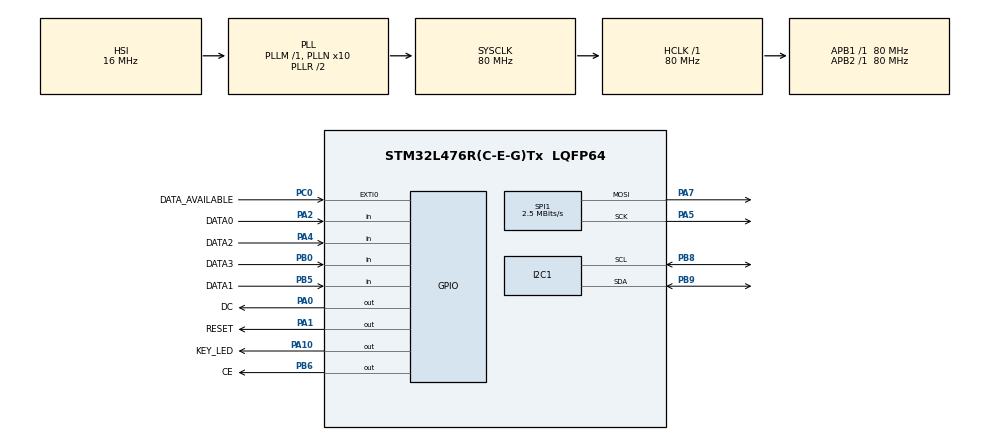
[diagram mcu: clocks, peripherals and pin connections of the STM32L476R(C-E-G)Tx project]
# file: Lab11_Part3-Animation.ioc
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I2C1.Timing=0x10D19CE4
Mcu.Family=STM32L4
Mcu.Name=STM32L476R(C-E-G)Tx
Mcu.Package=LQFP64
NVIC.EXTI0_IRQn=true\:15\:0\:true\:false\:true\:true\:true\:true
NVIC.PriorityGroup=NVIC_PRIORITYGROUP_4
PA0.GPIO_Label=DC
PA0.Signal=GPIO_Output
PA1.GPIO_Label=RESET
PA1.Signal=GPIO_Output
PA10.GPIO_Label=KEY_LED
PA10.Signal=GPIO_Output
PA13\ (JTMS-SWDIO).GPIO_Label=TMS
PA13\ (JTMS-SWDIO).Mode=Serial_Wire
PA13\ (JTMS-SWDIO).Signal=SYS_JTMS-SWDIO
PA14\ (JTCK-SWCLK).GPIO_Label=TCK
PA14\ (JTCK-SWCLK).Mode=Serial_Wire
PA14\ (JTCK-SWCLK).Signal=SYS_JTCK-SWCLK
PA2.GPIO_Label=DATA0
PA2.Signal=GPIO_Input
PA4.GPIO_Label=DATA2
PA4.Signal=GPIO_Input
PA5.Mode=TX_Only_Simplex_Unidirect_Master
PA5.Signal=SPI1_SCK
PA7.Mode=TX_Only_Simplex_Unidirect_Master
PA7.Signal=SPI1_MOSI
PB0.GPIO_Label=DATA3
PB0.Signal=GPIO_Input
PB3\ (JTDO-TRACESWO).GPIO_Label=SWO
PB3\ (JTDO-TRACESWO).Signal=SYS_JTDO-SWO
PB5.GPIO_Label=DATA1
PB5.Signal=GPIO_Input
PB6.GPIO_Label=CE
PB6.Signal=GPIO_Output
PB8.Mode=I2C
PB8.Signal=I2C1_SCL
PB9.Mode=I2C
PB9.Signal=I2C1_SDA
PC0.GPIO_Label=DATA_AVAILABLE
PC0.GPIO_ModeDefaultEXTI=GPIO_MODE_IT_RISING
PC0.GPIO_PuPd=GPIO_PULLDOWN
PC0.Signal=GPXTI0
PC14-OSC32_IN\ (PC14).Mode=LSE-External-Oscillator
PC14-OSC32_IN\ (PC14).Signal=RCC_OSC32_IN
PC15-OSC32_OUT\ (PC15).Mode=LSE-External-Oscillator
PC15-OSC32_OUT\ (PC15).Signal=RCC_OSC32_OUT
PH0-OSC_IN\ (PH0).Signal=RCC_OSC_IN
PH1-OSC_OUT\ (PH1).Signal=RCC_OSC_OUT
ProjectManager.HeapSize=0x200
ProjectManager.StackSize=0x400
ProjectManager.TargetToolchain=STM32CubeIDE
RCC.ADCFreq_Value=64000000
RCC.AHBFreq_Value=80000000
RCC.APB1Freq_Value=80000000
RCC.APB1TimFreq_Value=80000000
RCC.APB2Freq_Value=80000000
RCC.APB2TimFreq_Value=80000000
RCC.CortexFreq_Value=80000000
RCC.HCLKFreq_Value=80000000
RCC.HSE_VALUE=8000000
RCC.HSI_VALUE=16000000
RCC.MSI_VALUE=4000000
RCC.PLLN=10
RCC.PLLSourceVirtual=RCC_PLLSOURCE_HSI
RCC.PREFETCH_ENABLE=1
RCC.SYSCLKFreq_VALUE=80000000
RCC.SYSCLKSource=RCC_SYSCLKSOURCE_PLLCLK
RCC.USBFreq_Value=64000000
RCC.VCOOutputFreq_Value=160000000
SPI1.BaudRatePrescaler=SPI_BAUDRATEPRESCALER_32
SPI1.CalculateBaudRate=2.5 MBits/s
SPI1.DataSize=SPI_DATASIZE_8BIT
SPI1.Direction=SPI_DIRECTION_2LINES
SPI1.Mode=SPI_MODE_MASTER
SPI1.VirtualType=VM_MASTER
board=NUCLEO-L476RG

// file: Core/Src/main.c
/* USER CODE BEGIN Header */
/**
  ******************************************************************************
  * @file           : main.c
  * @brief          : Main program body
  ******************************************************************************
  * @attention
  *
  * Copyright (c) 2025 STMicroelectronics.
  * All rights reserved.
  *
  * This software is licensed under terms that can be found in the LICENSE file
  * in the root directory of this software component.
  * If no LICENSE file comes with this software, it is provided AS-IS.
  *
  ******************************************************************************
  */
/* USER CODE END Header */
#include "main.h"

/* USER CODE BEGIN PM */
// GLCD
#define CE_PORT 	GPIOB // PB6 chip enable (aka slave select)
#define CE_PIN 		GPIO_PIN_6

#define DC_PORT 	GPIOA // PA0 data/control
#define DC_PIN 		GPIO_PIN_0

#define RESET_PORT 	GPIOA // PA1 reset
#define RESET_PIN 	GPIO_PIN_1

#define GLCD_WIDTH 	84
#define GLCD_HEIGHT 48
#define NUM_BANKS	 6

// LCD
#define I2C_ADDR 0x27 // I2C address of the PCF8574
#define RS_BIT 0 // Register select bit
#define EN_BIT 2 // Enable bit
#define BL_BIT 3 // Backlight bit
#define D4_BIT 4 // Data 4 bit
#define D5_BIT 5 // Data 5 bit
#define D6_BIT 6 // Data 6 bit
#define D7_BIT 7 // Data 7 bit
#define LCD_ROWS 2 // Number of rows on the LCD
#define LCD_COLS 16 // Number of columns on the LCD

/* USER CODE END PM */

I2C_HandleTypeDef hi2c1;

SPI_HandleTypeDef hspi1;

/* USER CODE BEGIN PV */
// GLCD
const char font_table[][8] = {
	{0x00, 0x80, 0x40, 0x20, 0x20, 0x20, 0x40, 0x80}, // person top				0
	{0x00, 0x0F, 0x10, 0x2D, 0xE8, 0x2D, 0x90, 0x4F}, // person middle			1
	{0x00, 0x04, 0x82, 0x41, 0x3F, 0x41, 0x80, 0x00}, // person bottom			2
	{0x20, 0x10, 0x08, 0x06, 0x09, 0x09, 0x06, 0x00}, // person arm with ball 	3
	{0x20, 0x10, 0x08, 0x00, 0x00, 0x00, 0x00, 0x00}, // person arm no ball		4
	{0x00, 0x18, 0x24, 0x24, 0x18, 0x00, 0x00, 0x00}, // ball phase 1			5
	{0x30, 0x48, 0x48, 0x30, 0x00, 0x00, 0x00, 0x00}, // ball phase 2			6
	{0x00, 0x00, 0x00, 0x00, 0x60, 0x90, 0x90, 0x60}, // ball phase 3,4,7,10-12	7
	{0x00, 0x00, 0x00, 0x00, 0x06, 0x09, 0x09, 0x06}, // ball phase 5			8
	{0x00, 0x00, 0x00, 0x00, 0x0C, 0x12, 0x12, 0x0C}, // ball phase 6			9
	{0x00, 0x00, 0x00, 0xE6, 0x19, 0x19, 0x16, 0x10}, // ball top hoop			10
	{0x00, 0x00, 0x00, 0x01, 0x32, 0x4A, 0x4A, 0x32}, // ball bottom hoop		11
	{0x00, 0xE0, 0xE0, 0x00, 0x00, 0xFF, 0x00, 0x00}, // hoop top				12
	{0x00, 0x00, 0x00, 0xE0, 0x10, 0x10, 0x10, 0x10}, // hoop mid left			13
	{0xE0, 0xFF, 0xFF, 0x10, 0x10, 0x1F, 0x00, 0x00}, // hoop mid right			14
	{0x00, 0x00, 0x00, 0x01, 0x02, 0x02, 0x02, 0x02}, // hoop bottom left		15
	{0x01, 0x1F, 0x1F, 0x00, 0x00, 0x00, 0x00, 0x00}, // hoop bottom right		16
	{0x00, 0x00, 0x00, 0x00, 0x00, 0x00, 0x00, 0x00}, // clear bank				17
};

// LCD
uint8_t backlight_state = 1;
char got_key = 0;
/* USER CODE END PV */

void SystemClock_Config(void);
static void MX_GPIO_Init(void);
static void MX_SPI1_Init(void);
static void MX_I2C1_Init(void);
/* USER CODE BEGIN PFP */
void SPI_write(unsigned char data);
void GLCD_data_write(unsigned char data);
void GLCD_command_write(unsigned char data);
void GLCD_init(void);
void GLCD_setCursor(unsigned char x, unsigned char y);
void GLCD_clear(void);
void GLCD_putchar(int bank_number, int col_number, int font_table_row);
uint8_t keypad_decode();
/* USER CODE END PFP */

/* USER CODE BEGIN 0 */
// LCD
void lcd_write_nibble(uint8_t nibble, uint8_t rs) {
	 uint8_t data = nibble << D4_BIT;
	 data |= rs << RS_BIT;
	 data |= backlight_state << BL_BIT; // Include backlight state in data
	 data |= 1 << EN_BIT;
	 HAL_I2C_Master_Transmit(&hi2c1, I2C_ADDR << 1, &data, 1, 100);
	 HAL_Delay(1);
	 data &= ~(1 << EN_BIT);
	 HAL_I2C_Master_Transmit(&hi2c1, I2C_ADDR << 1, &data, 1, 100);
}

void lcd_send_cmd(uint8_t cmd) {
	 uint8_t upper_nibble = cmd >> 4;
	 uint8_t lower_nibble = cmd & 0x0F;
	 lcd_write_nibble(upper_nibble, 0);
	 lcd_write_nibble(lower_nibble, 0);
	 if (cmd == 0x01 || cmd == 0x02) {
		 HAL_Delay(2);
	 }
}

void lcd_send_data(uint8_t data) {
	 uint8_t upper_nibble = data >> 4;
	 uint8_t lower_nibble = data & 0x0F;
	 lcd_write_nibble(upper_nibble, 1);
	 lcd_write_nibble(lower_nibble, 1);
}

void lcd_init() {
	 HAL_Delay(50);
	 lcd_write_nibble(0x03, 0);
	 HAL_Delay(5);
	 lcd_write_nibble(0x03, 0);
	 HAL_Delay(1);
	 lcd_write_nibble(0x03, 0);
	 HAL_Delay(1);
	 lcd_write_nibble(0x02, 0);
	 lcd_send_cmd(0x28);
	 lcd_send_cmd(0x0C);
	 lcd_send_cmd(0x06);
	 lcd_send_cmd(0x01);
	 HAL_Delay(2);
}

void lcd_write_string(char *str) {
	 while (*str) {
		 lcd_send_data(*str++);
	 }
}

void lcd_set_cursor(uint8_t row, uint8_t column) {
	 uint8_t address;
	 switch (row) {
		 case 0:
			 address = 0x00;
			 break;
		 case 1:
			 address = 0x40;
			 break;
		 default:
			 address = 0x00;
	 }
	 address += column;
	 lcd_send_cmd(0x80 | address);
}

void lcd_clear(void) {
	lcd_send_cmd(0x01);
	 HAL_Delay(2);
}

void lcd_backlight(uint8_t state) {
	 if (state) {
		 backlight_state = 1;
	 } else {
		 backlight_state = 0;
	 }
}
void lcd_write_char(char data) {
    // Write the upper nibble
    lcd_write_nibble((data >> 4) & 0x0F, 1);  // 1 for data mode

    // Write the lower nibble
    lcd_write_nibble(data & 0x0F, 1);         // 1 for data mode
}
/* USER CODE END 0 */

int main(void)
{

  /* MCU Configuration--------------------------------------------------------*/

  /* Reset of all peripherals, Initializes the Flash interface and the Systick. */
  HAL_Init();

  /* Configure the system clock */
  SystemClock_Config();

  /* Initialize all configured peripherals */
  MX_GPIO_Init();
  MX_SPI1_Init();
  MX_I2C1_Init();
  /* USER CODE BEGIN 2 */
  // GLCD
  GLCD_init(); 		// initialize the screen
  GLCD_clear(); 	// clear the screen

  // LCD
  // I2C pull-up resistors
  GPIOB->PUPDR |= 0b01 << (8*2);
  GPIOB->PUPDR |= 0b01 << (9*2);
  // Initialize the LCD
  lcd_init();
  lcd_backlight(1); // Turn on backlight
  /* USER CODE END 2 */

  /* Infinite loop */
  /* USER CODE BEGIN WHILE */
  while (1)
  {
	  GLCD_putchar(0, 9, 12);  // hoop top
	  GLCD_putchar(1, 8, 13);  // hoop mid left
	  GLCD_putchar(1, 9, 14);  // hoop mid right
	  GLCD_putchar(2, 8, 15);  // hoop bottom left
	  GLCD_putchar(2, 9, 16);  // hoop bottom right
	  GLCD_putchar(3, 0, 0);  // person top
	  GLCD_putchar(4, 0, 1);  // person middle
	  GLCD_putchar(5, 0, 2);  // person bottom
	  GLCD_putchar(4, 1, 3);  // person arm with ball
	  HAL_Delay(500);
	  GLCD_putchar(4, 1, 4);  // person arm no ball
	  GLCD_putchar(3, 2, 5);  // ball phase 1
	  HAL_Delay(500);
	  GLCD_putchar(3, 2, 17);  // clear ball phase 1
	  GLCD_putchar(2, 3, 5);  // ball phase 2
	  HAL_Delay(500);
	  GLCD_putchar(2, 3, 17);  // clear ball phase 2
	  GLCD_putchar(1, 3, 7);  // ball phase 3
	  HAL_Delay(500);
	  GLCD_putchar(1, 3, 17);  // clear ball phase 3
	  GLCD_putchar(0, 4, 7);  // ball phase 4
	  HAL_Delay(500);
	  GLCD_putchar(0, 4, 17);  // clear ball phase 4
	  GLCD_putchar(0, 5, 8);  // ball phase 5
	  HAL_Delay(500);
	  GLCD_putchar(0, 5, 17);  // clear ball phase 5
	  GLCD_putchar(0, 6, 9);  // ball phase 6
	  HAL_Delay(500);
	  GLCD_putchar(0, 6, 17);  // clear ball phase 6
	  GLCD_putchar(0, 7, 7);  // ball phase 7
	  HAL_Delay(500);
	  GLCD_putchar(0, 7, 17);  // clear ball phase 7
	  GLCD_putchar(1, 8, 10);  // ball phase 8 top hoop
	  HAL_Delay(500);
	  GLCD_putchar(1, 8, 13);  // clear ball phase 8 top hoop
	  GLCD_putchar(2, 8, 11);  // ball phase 9 bottom hoop
	  HAL_Delay(500);
	  GLCD_putchar(2, 8, 15);  // clear ball phase 9 bottom hoop
	  GLCD_putchar(3, 8, 7);  // ball phase 10
	  HAL_Delay(500);
	  GLCD_putchar(3, 8, 17);  // clear ball phase 10
	  GLCD_putchar(4, 8, 7);  // ball phase 11
	  HAL_Delay(500);
	  GLCD_putchar(4, 8, 17);  // clear ball phase 11
	  GLCD_putchar(5, 8, 7);  // ball phase 12
	  HAL_Delay(500);
	  GLCD_putchar(5, 8, 17);  // clear ball phase 12
    /* USER CODE END WHILE */

  }
}

void SystemClock_Config(void)
{
  RCC_OscInitTypeDef RCC_OscInitStruct = {0};
  RCC_ClkInitTypeDef RCC_ClkInitStruct = {0};

  /** Configure the main internal regulator output voltage
  */
  if (HAL_PWREx_ControlVoltageScaling(PWR_REGULATOR_VOLTAGE_SCALE1) != HAL_OK)
  {
    Error_Handler();
  }

  /** Initializes the RCC Oscillators according to the specified parameters
  * in the RCC_OscInitTypeDef structure.
  */
  RCC_OscInitStruct.OscillatorType = RCC_OSCILLATORTYPE_HSI;
  RCC_OscInitStruct.HSIState = RCC_HSI_ON;
  RCC_OscInitStruct.HSICalibrationValue = RCC_HSICALIBRATION_DEFAULT;
  RCC_OscInitStruct.PLL.PLLState = RCC_PLL_ON;
  RCC_OscInitStruct.PLL.PLLSource = RCC_PLLSOURCE_HSI;
  RCC_OscInitStruct.PLL.PLLM = 1;
  RCC_OscInitStruct.PLL.PLLN = 10;
  RCC_OscInitStruct.PLL.PLLP = RCC_PLLP_DIV7;
  RCC_OscInitStruct.PLL.PLLQ = RCC_PLLQ_DIV2;
  RCC_OscInitStruct.PLL.PLLR = RCC_PLLR_DIV2;
  if (HAL_RCC_OscConfig(&RCC_OscInitStruct) != HAL_OK)
  {
    Error_Handler();
  }

  /** Initializes the CPU, AHB and APB buses clocks
  */
  RCC_ClkInitStruct.ClockType = RCC_CLOCKTYPE_HCLK|RCC_CLOCKTYPE_SYSCLK
                              |RCC_CLOCKTYPE_PCLK1|RCC_CLOCKTYPE_PCLK2;
  RCC_ClkInitStruct.SYSCLKSource = RCC_SYSCLKSOURCE_PLLCLK;
  RCC_ClkInitStruct.AHBCLKDivider = RCC_SYSCLK_DIV1;
  RCC_ClkInitStruct.APB1CLKDivider = RCC_HCLK_DIV1;
  RCC_ClkInitStruct.APB2CLKDivider = RCC_HCLK_DIV1;

  if (HAL_RCC_ClockConfig(&RCC_ClkInitStruct, FLASH_LATENCY_4) != HAL_OK)
  {
    Error_Handler();
  }
}

static void MX_I2C1_Init(void)
{

  hi2c1.Instance = I2C1;
  hi2c1.Init.Timing = 0x10D19CE4;
  hi2c1.Init.OwnAddress1 = 0;
  hi2c1.Init.AddressingMode = I2C_ADDRESSINGMODE_7BIT;
  hi2c1.Init.DualAddressMode = I2C_DUALADDRESS_DISABLE;
  hi2c1.Init.OwnAddress2 = 0;
  hi2c1.Init.OwnAddress2Masks = I2C_OA2_NOMASK;
  hi2c1.Init.GeneralCallMode = I2C_GENERALCALL_DISABLE;
  hi2c1.Init.NoStretchMode = I2C_NOSTRETCH_DISABLE;
  if (HAL_I2C_Init(&hi2c1) != HAL_OK)
  {
    Error_Handler();
  }

  /** Configure Analogue filter
  */
  if (HAL_I2CEx_ConfigAnalogFilter(&hi2c1, I2C_ANALOGFILTER_ENABLE) != HAL_OK)
  {
    Error_Handler();
  }

  /** Configure Digital filter
  */
  if (HAL_I2CEx_ConfigDigitalFilter(&hi2c1, 0) != HAL_OK)
  {
    Error_Handler();
  }

}

static void MX_SPI1_Init(void)
{

  /* SPI1 parameter configuration*/
  hspi1.Instance = SPI1;
  hspi1.Init.Mode = SPI_MODE_MASTER;
  hspi1.Init.Direction = SPI_DIRECTION_2LINES;
  hspi1.Init.DataSize = SPI_DATASIZE_8BIT;
  hspi1.Init.CLKPolarity = SPI_POLARITY_LOW;
  hspi1.Init.CLKPhase = SPI_PHASE_1EDGE;
  hspi1.Init.NSS = SPI_NSS_SOFT;
  hspi1.Init.BaudRatePrescaler = SPI_BAUDRATEPRESCALER_32;
  hspi1.Init.FirstBit = SPI_FIRSTBIT_MSB;
  hspi1.Init.TIMode = SPI_TIMODE_DISABLE;
  hspi1.Init.CRCCalculation = SPI_CRCCALCULATION_DISABLE;
  hspi1.Init.CRCPolynomial = 7;
  hspi1.Init.CRCLength = SPI_CRC_LENGTH_DATASIZE;
  hspi1.Init.NSSPMode = SPI_NSS_PULSE_ENABLE;
  if (HAL_SPI_Init(&hspi1) != HAL_OK)
  {
    Error_Handler();
  }

}

static void MX_GPIO_Init(void)
{
  GPIO_InitTypeDef GPIO_InitStruct = {0};

  /* GPIO Ports Clock Enable */
  __HAL_RCC_GPIOC_CLK_ENABLE();
  __HAL_RCC_GPIOH_CLK_ENABLE();
  __HAL_RCC_GPIOA_CLK_ENABLE();
  __HAL_RCC_GPIOB_CLK_ENABLE();

  /*Configure GPIO pin Output Level */
  HAL_GPIO_WritePin(GPIOA, DC_Pin|RESET_Pin|KEY_LED_Pin, GPIO_PIN_RESET);

  /*Configure GPIO pin Output Level */
  HAL_GPIO_WritePin(CE_GPIO_Port, CE_Pin, GPIO_PIN_RESET);

  /*Configure GPIO pin : DATA_AVAILABLE_Pin */
  GPIO_InitStruct.Pin = DATA_AVAILABLE_Pin;
  GPIO_InitStruct.Mode = GPIO_MODE_IT_RISING;
  GPIO_InitStruct.Pull = GPIO_PULLDOWN;
  HAL_GPIO_Init(DATA_AVAILABLE_GPIO_Port, &GPIO_InitStruct);

  /*Configure GPIO pins : DC_Pin RESET_Pin KEY_LED_Pin */
  GPIO_InitStruct.Pin = DC_Pin|RESET_Pin|KEY_LED_Pin;
  GPIO_InitStruct.Mode = GPIO_MODE_OUTPUT_PP;
  GPIO_InitStruct.Pull = GPIO_NOPULL;
  GPIO_InitStruct.Speed = GPIO_SPEED_FREQ_LOW;
  HAL_GPIO_Init(GPIOA, &GPIO_InitStruct);

  /*Configure GPIO pins : DATA0_Pin DATA2_Pin */
  GPIO_InitStruct.Pin = DATA0_Pin|DATA2_Pin;
  GPIO_InitStruct.Mode = GPIO_MODE_INPUT;
  GPIO_InitStruct.Pull = GPIO_NOPULL;
  HAL_GPIO_Init(GPIOA, &GPIO_InitStruct);

  /*Configure GPIO pins : DATA3_Pin DATA1_Pin */
  GPIO_InitStruct.Pin = DATA3_Pin|DATA1_Pin;
  GPIO_InitStruct.Mode = GPIO_MODE_INPUT;
  GPIO_InitStruct.Pull = GPIO_NOPULL;
  HAL_GPIO_Init(GPIOB, &GPIO_InitStruct);

  /*Configure GPIO pin : CE_Pin */
  GPIO_InitStruct.Pin = CE_Pin;
  GPIO_InitStruct.Mode = GPIO_MODE_OUTPUT_PP;
  GPIO_InitStruct.Pull = GPIO_NOPULL;
  GPIO_InitStruct.Speed = GPIO_SPEED_FREQ_LOW;
  HAL_GPIO_Init(CE_GPIO_Port, &GPIO_InitStruct);

  /* EXTI interrupt init*/
  HAL_NVIC_SetPriority(EXTI0_IRQn, 15, 0);
  HAL_NVIC_EnableIRQ(EXTI0_IRQn);

}

/* USER CODE BEGIN 4 */
void SPI_write(unsigned char data){
	// Chip Enable (low is asserted)
	HAL_GPIO_WritePin(CE_PORT, CE_PIN, GPIO_PIN_RESET);
	// Send data over SPI1
	HAL_SPI_Transmit(&hspi1, (uint8_t*) &data, 1, HAL_MAX_DELAY);
	// Chip Disable
	HAL_GPIO_WritePin(CE_PORT, CE_PIN, GPIO_PIN_SET);
}

void GLCD_data_write(unsigned char data){
	// Switch to "data" mode (D/C pin high)
	HAL_GPIO_WritePin(DC_PORT, DC_PIN, GPIO_PIN_SET);
	// Send data over SPI
	SPI_write(data);
}

void GLCD_command_write(unsigned char data){
	// Switch to "command" mode (D/C pin low)
	HAL_GPIO_WritePin(DC_PORT, DC_PIN, GPIO_PIN_RESET);
	// Send data over SPI
	SPI_write(data);
}

void GLCD_init(void){
	// Keep CE high when not transmitting
	HAL_GPIO_WritePin(CE_PORT, CE_PIN, GPIO_PIN_SET);
	// Reset the screen (low pulse - down & up)
	HAL_GPIO_WritePin(RESET_PORT, RESET_PIN, GPIO_PIN_RESET);
	HAL_GPIO_WritePin(RESET_PORT, RESET_PIN, GPIO_PIN_SET);
	// Configure the screen (according to the datasheet)
	GLCD_command_write(0x21); // enter extended command mode
	// may need to change
	GLCD_command_write(0xC0); // set LCD Vop for contrast (this may be adjusted)
	GLCD_command_write(0x04); // set temp coefficient
	// may need to change
	GLCD_command_write(0x17); // set LCD bias mode (this may be adjusted)
	GLCD_command_write(0x20); // return to normal command mode
	GLCD_command_write(0x0C); // set display mode normal
}

void GLCD_setCursor(unsigned char x, unsigned char y){
	GLCD_command_write(0x80 | x); // column
	GLCD_command_write(0x40 | y); // bank
}

void GLCD_clear(void){
	int i;
	for(i = 0; i < (GLCD_WIDTH * NUM_BANKS); i++){
		GLCD_data_write(0x00); // write zeros
	}
	GLCD_setCursor(0,0); // return cursor to top left
}

void GLCD_putchar(int bank_number, int col_number, int font_table_row){
	int col = col_number * 8;
	GLCD_setCursor(col, bank_number);
	 int i;
	 for (i=0; i<8; i++){
		 GLCD_data_write(font_table[font_table_row][i]);
	 }
}

void HAL_GPIO_EXTI_Callback(uint16_t GPIO_Pin)
{

	 if (HAL_GPIO_ReadPin(DATA_AVAILABLE_GPIO_Port, DATA_AVAILABLE_Pin)) {
		 // Turn on LED2 to show key press detected
		 HAL_GPIO_WritePin(KEY_LED_GPIO_Port, KEY_LED_Pin, 1); // turn on the KEY_LED (LED2)

		 uint8_t key = keypad_decode();  // determine which key was pressed (key is in ascii)
		 lcd_send_data(key); // Send ascii key data to the LCD

		 // wait for user to release key, then turn off LED2
		while (HAL_GPIO_ReadPin(DATA_AVAILABLE_GPIO_Port, DATA_AVAILABLE_Pin) == GPIO_PIN_SET);
		HAL_GPIO_WritePin(KEY_LED_GPIO_Port, KEY_LED_Pin, 0); // turn off the KEY_LED (LED2)
	 }
}
uint8_t keypad_decode() {
	uint8_t key;
	unsigned char data = 0b0000;

	// read the data pins and combine into the 4-bit value: D3_D2_D1_D0
	unsigned char D3 = HAL_GPIO_ReadPin(DATA3_GPIO_Port, DATA3_Pin);
	unsigned char D2 = HAL_GPIO_ReadPin(DATA2_GPIO_Port, DATA2_Pin);
	unsigned char D1 = HAL_GPIO_ReadPin(DATA1_GPIO_Port, DATA1_Pin);
	unsigned char D0 = HAL_GPIO_ReadPin(DATA0_GPIO_Port, DATA0_Pin);
	data = ((D3 << 3) | (D2 << 2) | (D1 << 1) | D0);

	// The key encoder gives the following "data" values:
	// 0 1 2 3
	// 4 5 6 7
	// 8 9 A B
	// C D E F

	// The following switch statement re-maps it to these "key" names in ascii:
	// 1 2 3 A
	// 4 5 6 B
	// 7 8 9 C
	// * 0 # D

   // Finish this switch statement to remap the "data" to the correct "key"
	switch (data) {
      case 0x0:
         key = 0x31; // 1
         break;
      case 0x1:
         key = 0x32; // 2
         break;
      case 0x2:
         key = 0x33; // 3
         break;
      case 0x3:
         key = 0x41; // A
         break;
      case 0x4:
         key = 0x34; // 4
         break;
      case 0x5:
         key = 0x35; // 5
         break;
      case 0x6:
         key = 0x36; // 6
         break;
      case 0x7:
         key = 0x42; // B
         break;
      case 0x8:
         key = 0x37; // 7
         break;
      case 0x9:
         key = 0x38; // 8
         break;
      case 0xA:
         key = 0x39; // 9
         break;
      case 0xB:
         key = 0x43; // C
         break;
      case 0xC:
         key = 0x2A; // *
         break;
      case 0xD:
         key = 0x30; // 0
         break;
      case 0xE:
         key = 0x23; // #
         break;
      case 0xF:
         key = 0x44; // D
         break;
	}
	return key;
}
/* USER CODE END 4 */

void Error_Handler(void)
{
  __disable_irq();
  while (1)
  {
  }
}
